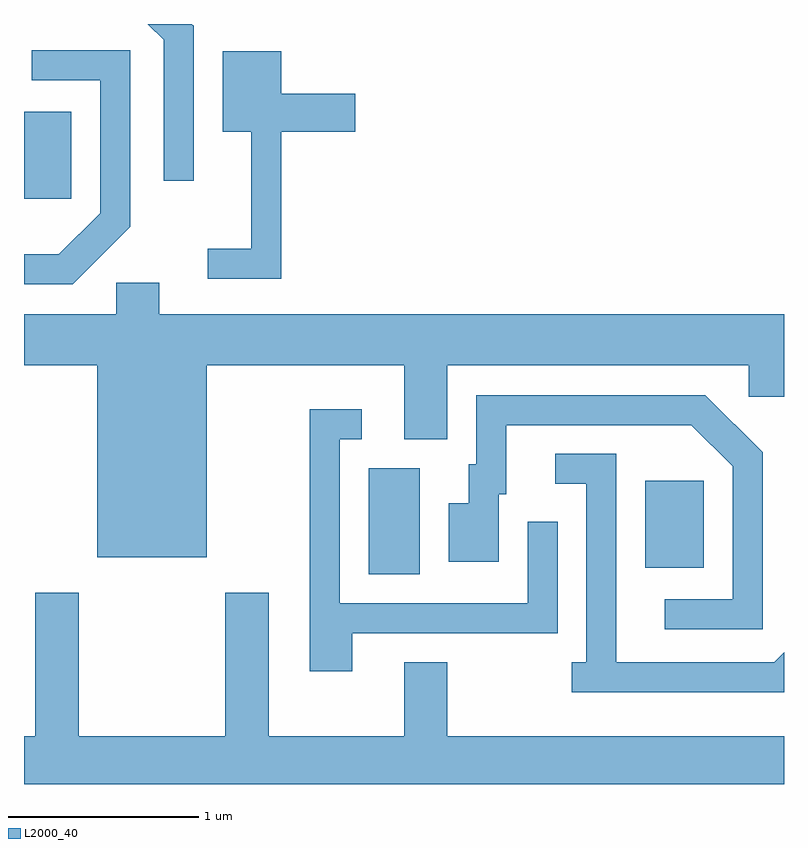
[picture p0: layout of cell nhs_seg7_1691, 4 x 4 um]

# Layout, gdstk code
import gdstk
lib = gdstk.Library(unit=1e-6, precision=1e-09)
def R(c, l, rs):  # rectangles x0, y0, x1, y1
    for r in rs: c.add(gdstk.rectangle(r[:2], r[2:], *l))
def P(c, l, *ps):  # polygons
    for p in ps: c.add(gdstk.Polygon(p, *l))
L2000_40 = (2000, 40)

nhs_seg7_1691 = lib.new_cell('nhs_seg7_1691')
R(nhs_seg7_1691, L2000_40, [(237.426,1795.356,237.694,1795.914), (238.881,1795.391,239.189,1795.849), (235.611,1797.331,235.859,1797.789)])
P(nhs_seg7_1691, L2000_40, [(236.504,1798.242),(236.494,1798.252),(236.263,1798.252),(236.346,1798.169),(236.346,1797.428),(236.504,1797.428)],
  [(236.169,1797.184),(236.169,1798.114),(235.653,1798.114),(235.653,1797.956),(236.011,1797.956),(236.011,1797.257),(235.794,1797.039),(235.611,1797.039),(235.611,1796.881),(235.867,1796.881)],
  [(236.964,1797.686),(237.354,1797.686),(237.354,1797.884),(236.964,1797.884),(236.964,1798.109),(236.656,1798.109),(236.656,1797.686),(236.806,1797.686),(236.806,1797.069),(236.578,1797.069),(236.578,1796.911),(236.964,1796.911)],
  [(236.574,1796.456),(237.611,1796.456),(237.611,1796.066),(237.839,1796.066),(237.839,1796.456),(239.426,1796.456),(239.426,1796.291),(239.611,1796.291),(239.611,1796.724),(236.324,1796.724),(236.324,1796.889),(236.096,1796.889),(236.096,1796.724),(235.611,1796.724),(235.611,1796.456),(235.996,1796.456),(235.996,1795.446),(236.574,1795.446)],
  [(239.499,1795.997),(239.197,1796.299),(237.991,1796.299),(237.991,1795.934),(237.951,1795.934),(237.951,1795.729),(237.846,1795.729),(237.846,1795.421),(238.109,1795.421),(238.109,1795.776),(238.149,1795.776),(238.149,1796.141),(239.124,1796.141),(239.341,1795.924),(239.341,1795.224),(238.983,1795.224),(238.983,1795.066),(239.499,1795.066)],
  [(237.339,1795.046),(238.419,1795.046),(238.419,1795.633),(238.261,1795.633),(238.261,1795.204),(237.274,1795.204),(237.274,1796.066),(237.388,1796.066),(237.388,1796.224),(237.116,1796.224),(237.116,1794.846),(237.339,1794.846)],
  [(239.611,1794.946),(239.559,1794.894),(238.729,1794.894),(238.729,1795.989),(238.408,1795.989),(238.408,1795.831),(238.571,1795.831),(238.571,1794.894),(238.493,1794.894),(238.493,1794.736),(239.611,1794.736)],
  [(239.611,1794.504),(237.839,1794.504),(237.839,1794.894),(237.611,1794.894),(237.611,1794.504),(236.899,1794.504),(236.899,1795.259),(236.671,1795.259),(236.671,1794.504),(235.899,1794.504),(235.899,1795.259),(235.671,1795.259),(235.671,1794.504),(235.611,1794.504),(235.611,1794.252),(239.611,1794.252)])

lib.write_gds('nhs_seg7_1691.gds')
